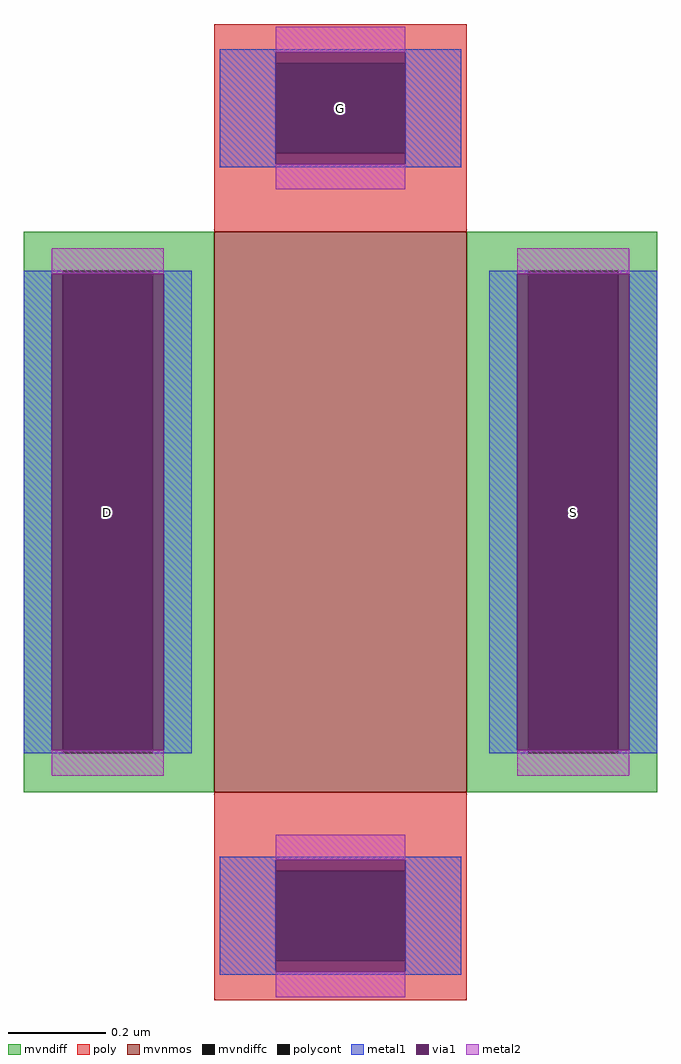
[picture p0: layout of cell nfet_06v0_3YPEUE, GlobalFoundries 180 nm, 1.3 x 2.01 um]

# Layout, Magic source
magic
tech gf180mcuD
magscale 3 26
<< mvnmos >>
rect -45 -100 45 100
<< mvndiff >>
rect -113 86 -45 100
rect -113 -86 -99 86
rect -67 -86 -45 86
rect -113 -100 -45 -86
rect 45 86 113 100
rect 45 -86 67 86
rect 99 -86 113 86
rect 45 -100 113 -86
<< mvndiffc >>
rect -99 -86 -67 86
rect 67 -86 99 86
<< poly >>
rect -45 160 45 174
rect -45 128 -23 160
rect 23 128 45 160
rect -45 100 45 128
rect -45 -128 45 -100
rect -45 -160 -23 -128
rect 23 -160 45 -128
rect -45 -174 45 -160
<< polycont >>
rect -23 128 23 160
rect -23 -160 23 -128
<< metal1 >>
rect -43 164 43 165
rect -43 124 -23 164
rect 23 124 43 164
rect -43 123 43 124
rect -113 85 -99 86
rect -67 85 -53 86
rect -113 -85 -103 85
rect -63 -85 -53 85
rect -113 -86 -99 -85
rect -67 -86 -53 -85
rect 53 85 67 86
rect 99 85 113 86
rect 53 -85 63 85
rect 103 -85 113 85
rect 53 -86 67 -85
rect 99 -86 113 -85
rect -43 -124 43 -123
rect -43 -164 -23 -124
rect 23 -164 43 -124
rect -43 -165 43 -164
<< via1 >>
rect -23 160 23 164
rect -23 128 23 160
rect -23 124 23 128
rect -103 -85 -99 85
rect -99 -85 -67 85
rect -67 -85 -63 85
rect 63 -85 67 85
rect 67 -85 99 85
rect 99 -85 103 85
rect -23 -128 23 -124
rect -23 -160 23 -128
rect -23 -164 23 -160
<< metal2 >>
rect -23 164 23 173
rect -23 115 23 124
rect -103 85 -63 94
rect -103 -94 -63 -85
rect 63 85 103 94
rect 63 -94 103 -85
rect -23 -124 23 -115
rect -23 -173 23 -164
<< labels >>
rlabel mvndiffc -83 0 -83 0 0 D
port 1 nsew
rlabel mvndiffc 83 0 83 0 0 S
port 2 nsew
rlabel polycont 0 144 0 144 0 G
port 3 nsew
<< properties >>
string gencell nfet_05v0
string library gf180mcu
string parameters w 1.0 l 0.45 m 1 ng 1 diffcov 100 polycov 100 guard 0 glc 1 grc 1 gtc 1 gbc 1 tbcov 100 rlcov 100 topc 1 botc 1 poverlap 0 doverlap 1 lmin 0.45 wmin 0.15 class mosfet compatible {nfet_05v0 nfet_06v0} full_metal 1 conn_gates 0 gate_ring 0 doports 1 viasrc 100 viadrn 100 viagate 100 ccols 1 viagb 0 viagr 0 viagl 0 viagt 0
<< end >>
